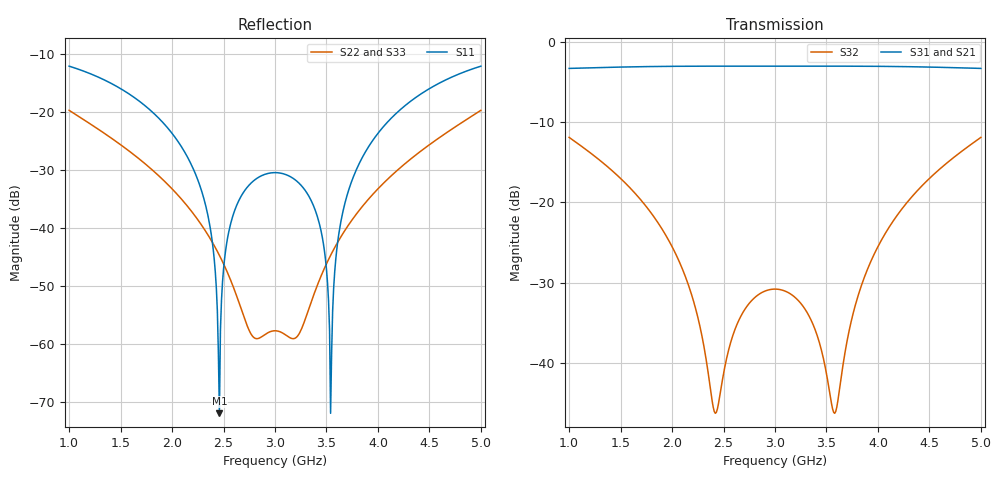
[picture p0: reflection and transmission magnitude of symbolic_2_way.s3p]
! AWR Design Environment (19377) Sat Dec 27 00:59:08 2025
! Document = 'symbolic_2_way'
! nPorts: 3, nXvals: 401
# GHz S DB R 50
!Freq DBS11 AngS11 DBS12 AngS12 DBS13 AngS13
!	DBS21 AngS21 DBS22 AngS22 DBS23 AngS23
!	DBS31 AngS31 DBS32 AngS32 DBS33 AngS33
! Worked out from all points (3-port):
!   401 points, 1 GHz to 5 GHz, reference 50 ohm
!   strongest paths, dB at 1 GHz, 2 GHz, 3 GHz, 4 GHz, 5 GHz:
!     S31: -3.3, -3.0, -3.0, -3.0, -3.3
!     S21: -3.3, -3.0, -3.0, -3.0, -3.3
!     S32: -11.9, -25.5, -30.8, -25.5, -11.9
!   lowest |S11| = -72.0 dB at 2.46 GHz (marker M1), VSWR 1.00, Z = 50 + j0.022 ohm
!   |S11| at or under -10 dB: start of sweep to end of sweep
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1  -12.06 61.9  -3.29 -118.1  -3.29 -118.1
   -3.29 -118.1  -19.68 -37.4  -11.89 -141.9
   -3.29 -118.1  -11.89 -141.9  -19.68 -37.4
2.14  -27.43 -75.9  -3.02 104.0  -3.02 104.0
      -3.02 104.0  -36.02 148.1  -29.62 84.6
      -3.02 104.0  -29.62 84.6  -36.02 148.1
2.36  -38.88 -102.5  -3.01 77.4  -3.01 77.4
      -3.01 77.4  -41.51 121.0  -42.09 29.7
      -3.01 77.4  -42.09 29.7  -41.51 121.0
2.46  -71.97 60.6  -3.01 65.3  -3.01 65.3
      -3.01 65.3  -44.71 111.1  -44.43 -70.4
      -3.01 65.3  -44.43 -70.4  -44.71 111.1
2.6  -37.38 48.3  -3.01 48.3  -3.01 48.3
     -3.01 48.3  -50.39 104.4  -36.24 -122.3
     -3.01 48.3  -36.24 -122.3  -50.39 104.4
3  -30.43 -0.0  -3.01 0.0  -3.01 0.0
   -3.01 0.0  -57.72 180.0  -30.81 180.0
   -3.01 0.0  -30.81 180.0  -57.72 180.0
3.4  -37.38 -48.3  -3.01 -48.3  -3.01 -48.3
     -3.01 -48.3  -50.39 -104.4  -36.24 122.3
     -3.01 -48.3  -36.24 122.3  -50.39 -104.4
3.54  -71.97 -60.6  -3.01 -65.3  -3.01 -65.3
      -3.01 -65.3  -44.71 -111.1  -44.43 70.4
      -3.01 -65.3  -44.43 70.4  -44.71 -111.1
3.86  -27.43 75.9  -3.02 -104.0  -3.02 -104.0
      -3.02 -104.0  -36.02 -148.1  -29.62 -84.6
      -3.02 -104.0  -29.62 -84.6  -36.02 -148.1
5  -12.06 -61.9  -3.29 118.1  -3.29 118.1
   -3.29 118.1  -19.68 37.4  -11.89 141.9
   -3.29 118.1  -11.89 141.9  -19.68 37.4
